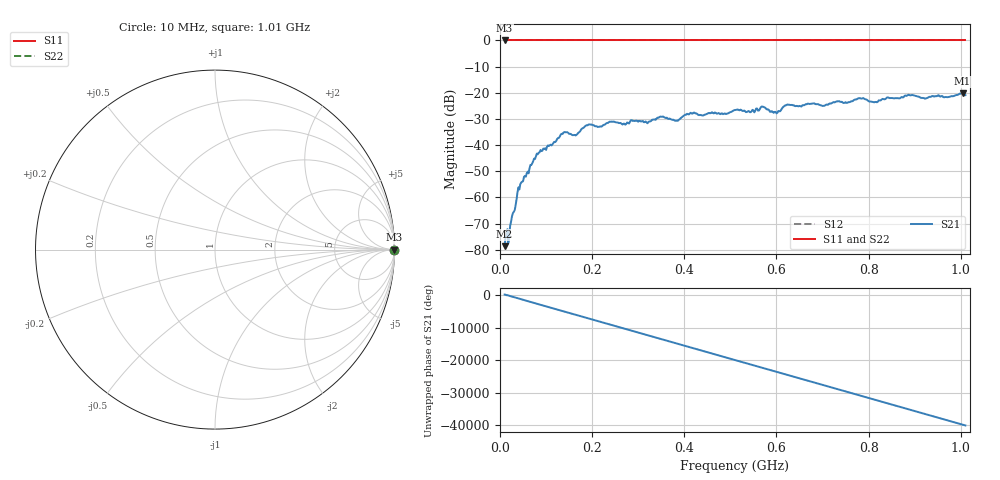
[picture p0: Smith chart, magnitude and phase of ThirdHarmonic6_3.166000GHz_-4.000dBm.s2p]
! 8/17/2025 9:31:07 AM
! C:\ANRITSUVNA\TEMP\TEMP.S2P
! CHANNEL.1
! TR.MEASUREMENT
! RAW.DATA
! RF.CORRECTION.OFF
! AVERAGING.OFF
! IF.BANDWIDTH: 5KHZ
! SWEEPTYPE:  FREQ.SWEEP(Linear)
! Reference Plane Port Info
! PORT:  PORT1  PORT2
! DISTANCE:  0  m  0  m
! TIME:  0  s  0  s
! PHASE.OFFSET:  0  deg.  0  deg.
! LOSS:  0  dB  0  dB
! REF.LOSS:  0  dB  0  dB
! REF.FREQ:  0  Hz  0  Hz
! Power Info
! POWER:  -20  dBm  -20  dBm
! EFF.POWER:  -20  dBm  -20  dBm
! SOURCE.ATTEN:  0  dB  0  dB
! TEST.ATTEN:  0  dB  0  dB
# GHZ S RI R 50.0
! FREQ.GHZ  S11RE  S11IM  S21RE  S21IM  S12RE  S12IM  S22RE  S22IM
!; PortSelection: Port_12
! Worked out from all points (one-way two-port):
!   501 points, 10 MHz to 1.01 GHz, reference 50 ohm
!   highest |S21| = -20.27 dB at 1.004 GHz (marker M1); lowest = -78.6 dB at 10 MHz (marker M2)
!   lowest |S11| = 0.0 dB at 10 MHz (marker M3)
!   |S11| at or under -10 dB: nowhere
!   |S22| runs from 0.0 to 0.0 dB; largest |S21 - S12| = 1.1
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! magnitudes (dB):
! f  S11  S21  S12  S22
! 10 MHz  0.0  -78.6  0.0  0.0
! 22 MHz  0.0  -70.9  0.0  0.0
! 42 MHz  0.0  -57.0  0.0  0.0
! 78 MHz  0.0  -44.3  0.0  0.0
! 136 MHz  0.0  -35.7  0.0  0.0
! 162 MHz  0.0  -36.1  0.0  0.0
! 178 MHz  0.0  -33.7  0.0  0.0
! 194 MHz  0.0  -32.1  0.0  0.0
! 344 MHz  0.0  -29.6  0.0  0.0
! 384 MHz  0.0  -30.6  0.0  0.0
! 418 MHz  0.0  -28.0  0.0  0.0
! 510 MHz  0.0  -26.6  0.0  0.0
! 570 MHz  0.0  -25.3  0.0  0.0
! 598 MHz  0.0  -27.3  0.0  0.0
! 622 MHz  0.0  -24.6  0.0  0.0
! 678 MHz  0.0  -24.1  0.0  0.0
! 702 MHz  0.0  -25.0  0.0  0.0
! 784 MHz  0.0  -22.2  0.0  0.0
! 814 MHz  0.0  -23.5  0.0  0.0
! 844 MHz  0.0  -21.9  0.0  0.0
! 1.004 GHz  0.0  -20.3  0.0  0.0
! 1.01 GHz  0.0  -20.9  0.0  0.0
